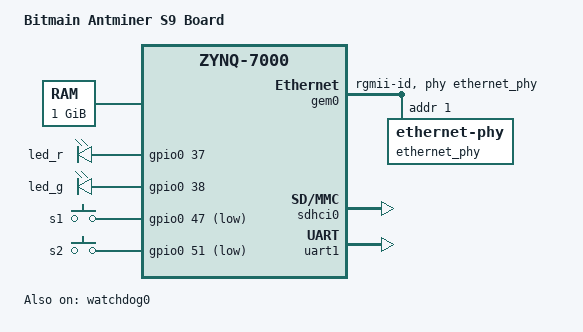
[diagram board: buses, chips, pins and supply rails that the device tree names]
// SPDX-License-Identifier: GPL-2.0
/*
 * Bitmain Antminer S9 — Linux device tree
 *
 * Based on Xilinx U-Boot bitmain-antminer-s9.dts (polprog / u-boot-xlnx)
 * and sample_s9/boot/uboot_bitmain-antminer-s9.dts
 *
 * Memory: default 1 GiB (0x40000000). For 512 MiB boards use 0x20000000.
 * Regenerate ps7_init / BOOT.BIN from Vivado 2024.2 Block Design when MIO/DDR change.
 */

/dts-v1/;
#include <dt-bindings/gpio/gpio.h>
#include "zynq-7000.dtsi"

/ {
	model = "Bitmain Antminer S9 Board";
	compatible = "bitmain,antminer-s9", "xlnx,zynq-7000";

	aliases {
		ethernet0 = &gem0;
		serial0 = &uart1;
		mmc0 = &sdhci0;
		gpio0 = &gpio0;
	};

	memory@0 {
		device_type = "memory";
		/* 1 GB — change to 0x20000000 for 512 MB revisions */
		reg = <0x0 0x40000000>;
	};

	reserved-memory {
		#address-cells = <1>;
		#size-cells = <1>;
		ranges;

		bootcount@efffff0 {
			reg = <0xefffff0 0x10>;
			no-map;
		};

		fpga_space@f000000 {
			reg = <0xf000000 0x1000000>;
			no-map;
		};
	};

	chosen {
		stdout-path = "serial0:115200n8";
	};

	/*
	 * GPIO labels from KarolNi S9miner_sample P02 — verify on your board.
	 * MIO numbers: LED 37/38/15, buttons 47/51 (fpga_docs / SoC terms).
	 */
	gpio-leds {
		compatible = "gpio-leds";

		led_r {
			label = "led_r";
			gpios = <&gpio0 37 GPIO_ACTIVE_HIGH>;
			default-state = "off";
		};

		led_g {
			label = "led_g";
			gpios = <&gpio0 38 GPIO_ACTIVE_HIGH>;
			linux,default-trigger = "heartbeat";
		};
	};

	gpio-keys {
		compatible = "gpio-keys";
		autorepeat;

		s1 {
			label = "s1";
			gpios = <&gpio0 47 GPIO_ACTIVE_LOW>;
			linux,code = <KEY_1>;
		};

		s2 {
			label = "s2";
			gpios = <&gpio0 51 GPIO_ACTIVE_LOW>;
			linux,code = <KEY_2>;
		};
	};
};

&clkc {
	ps-clk-frequency = <33333333>;
};

&gem0 {
	status = "okay";
	phy-mode = "rgmii-id";
	phy-handle = <&ethernet_phy>;

	ethernet_phy: ethernet-phy@1 {
		reg = <1>;
	};
};

&sdhci0 {
	status = "okay";
	disable-wp;
};

&uart1 {
	status = "okay";
};

&watchdog0 {
	status = "okay";
	reset-on-timeout;
	timeout-sec = <200>;
};

/*
 * NAND is on the stock miner image; disable when booting only from SD
 * to avoid spurious probe on a bare SD setup.
 */
&nfc0 {
	status = "disabled";
};

&smcc {
	status = "disabled";
};
